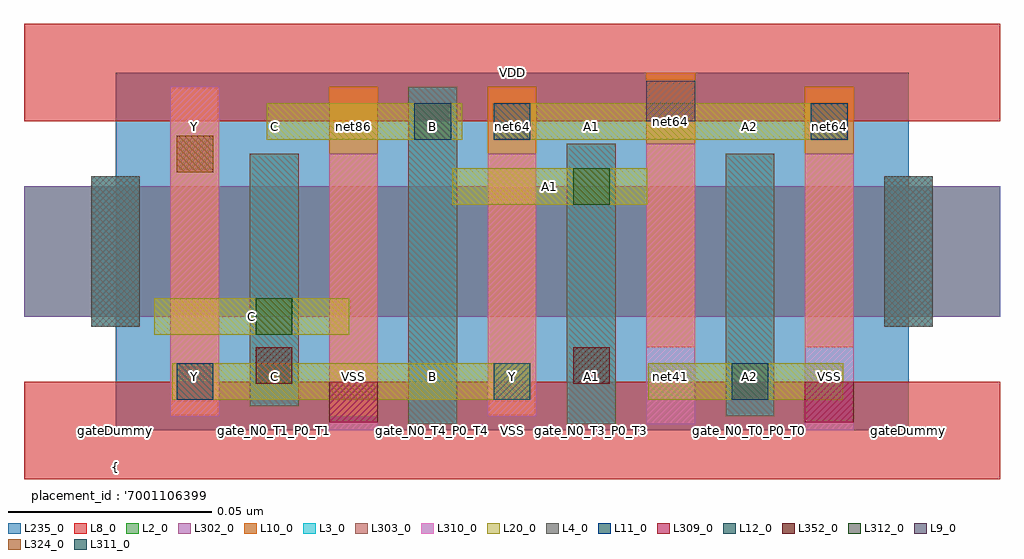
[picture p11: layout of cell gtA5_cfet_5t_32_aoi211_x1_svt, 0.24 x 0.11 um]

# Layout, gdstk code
import gdstk
lib = gdstk.Library(unit=1e-6, precision=2.5e-10)
def R(c, l, rs):  # rectangles x0, y0, x1, y1
    for r in rs: c.add(gdstk.rectangle(r[:2], r[2:], *l))
def A(c, l, x, y, w, h, nx, ny, dx, dy):  # array of equal rectangles
    R(c, l, [(x+i*dx, y+j*dy, x+i*dx+w, y+j*dy+h) for i in range(nx) for j in range(ny)])
L2_0 = (2, 0)
L3_0 = (3, 0)
L4_0 = (4, 0)
L8_0 = (8, 0)
L9_0 = (9, 0)
L10_0 = (10, 0)
L11_0 = (11, 0)
L12_0 = (12, 0)
L20_0 = (20, 0)
L235_0 = (235, 0)
L302_0 = (302, 0)
L303_0 = (303, 0)
L309_0 = (309, 0)
L310_0 = (310, 0)
L311_0 = (311, 0)
L312_0 = (312, 0)
L324_0 = (324, 0)
L352_0 = (352, 0)

gta5_cfet_5t_32_aoi211_x = lib.new_cell('gtA5_cfet_5t_32_aoi211_x1_svt')
R(gta5_cfet_5t_32_aoi211_x, L2_0, [(-0.0225,0.028,0.2175,0.06)])
R(gta5_cfet_5t_32_aoi211_x, L3_0, [(0.072,0.0015,0.084,0.0845), (0.111,0.0015,0.123,0.0705), (0.15,0.0035,0.162,0.068), (0.033,0.006,0.045,0.068), (-0.006,0.0255,0.006,0.0625), (0.189,0.0255,0.201,0.0625)])
R(gta5_cfet_5t_32_aoi211_x, L4_0, [(-0.006,0.0255,0.006,0.0625), (0.189,0.0255,0.201,0.0625)])
R(gta5_cfet_5t_32_aoi211_x, L8_0, [(-0.0225,-0.012,0.2175,0.012), (-0.0225,0.076,0.2175,0.1)])
R(gta5_cfet_5t_32_aoi211_x, L9_0, [(0.1305,0.076,0.1425,0.086)])
A(gta5_cfet_5t_32_aoi211_x, L10_0, 0.0135, 0.0035, 0.012, 0.081, 3, 1, 0.039, 0)
R(gta5_cfet_5t_32_aoi211_x, L10_0, [(0.1305,0.0205,0.1425,0.088), (0.1695,0.0205,0.1815,0.0845)])
R(gta5_cfet_5t_32_aoi211_x, L11_0, [(0.015,0.0075,0.024,0.0165), (0.093,0.0715,0.102,0.0805), (0.171,0.0715,0.18,0.0805)])
R(gta5_cfet_5t_32_aoi211_x, L12_0, [(0.1515,0.0075,0.1605,0.0165), (0.0735,0.0715,0.0825,0.0805)])
R(gta5_cfet_5t_32_aoi211_x, L20_0, [(0.014,0.0075,0.102,0.0165), (0.131,0.0075,0.179,0.0165), (0.0095,0.0235,0.0575,0.0325), (0.0828,0.0555,0.1308,0.0645), (0.0372,0.0715,0.0853,0.0805), (0.093,0.0715,0.18,0.0805)])
R(gta5_cfet_5t_32_aoi211_x, L235_0, [(0,0,0.195,0.088)])
R(gta5_cfet_5t_32_aoi211_x, L302_0, [(-0.0225,0.028,0.2175,0.06)])
R(gta5_cfet_5t_32_aoi211_x, L303_0, [(0.072,0.0015,0.084,0.0845), (0.111,0.0015,0.123,0.0705), (0.15,0.0035,0.162,0.068), (0.033,0.006,0.045,0.068), (-0.006,0.0255,0.006,0.0625), (0.189,0.0255,0.201,0.0625)])
R(gta5_cfet_5t_32_aoi211_x, L309_0, [(0.0525,0.002,0.0645,0.012), (0.1695,0.002,0.1815,0.012)])
R(gta5_cfet_5t_32_aoi211_x, L310_0, [(0.0525,0,0.0645,0.068), (0.1695,0,0.1815,0.068), (0.1305,0.0015,0.1425,0.0705), (0.0135,0.0035,0.0255,0.0845), (0.0915,0.0035,0.1035,0.068)])
R(gta5_cfet_5t_32_aoi211_x, L311_0, [(0.093,0.0075,0.102,0.0165)])
R(gta5_cfet_5t_32_aoi211_x, L312_0, [(0.0345,0.0235,0.0435,0.0325), (0.1125,0.0555,0.1215,0.0645)])
R(gta5_cfet_5t_32_aoi211_x, L324_0, [(0.015,0.0635,0.024,0.0725)])
R(gta5_cfet_5t_32_aoi211_x, L352_0, [(0.0345,0.0115,0.0435,0.0205), (0.1125,0.0115,0.1215,0.0205)])
gta5_cfet_5t_32_aoi211_x.add(gdstk.Label('net64', (0.1365,0.076), layer=100, texttype=100))
gta5_cfet_5t_32_aoi211_x.add(gdstk.Label('gateDummy', (0,0), layer=103, texttype=103))
gta5_cfet_5t_32_aoi211_x.add(gdstk.Label('sd_N0_T0_P0_T0', (0.0195,0), layer=103, texttype=103))
gta5_cfet_5t_32_aoi211_x.add(gdstk.Label('gate_N0_T1_P0_T1', (0.039,0), layer=103, texttype=103))
gta5_cfet_5t_32_aoi211_x.add(gdstk.Label('sd_N0_VSS', (0.0585,0), layer=103, texttype=103))
gta5_cfet_5t_32_aoi211_x.add(gdstk.Label('gate_N0_T4_P0_T4', (0.078,0), layer=103, texttype=103))
gta5_cfet_5t_32_aoi211_x.add(gdstk.Label('sd_N0_T0_P0_T4', (0.0975,0), layer=103, texttype=103))
gta5_cfet_5t_32_aoi211_x.add(gdstk.Label('gate_N0_T3_P0_T3', (0.117,0), layer=103, texttype=103))
gta5_cfet_5t_32_aoi211_x.add(gdstk.Label('sd_P0_VDD', (0.1365,0), layer=103, texttype=103))
gta5_cfet_5t_32_aoi211_x.add(gdstk.Label('gate_N0_T0_P0_T0', (0.156,0), layer=103, texttype=103))
gta5_cfet_5t_32_aoi211_x.add(gdstk.Label('sd_N0_VSS_P0_T4', (0.1755,0), layer=103, texttype=103))
gta5_cfet_5t_32_aoi211_x.add(gdstk.Label('gateDummy', (0.195,0), layer=103, texttype=103))
gta5_cfet_5t_32_aoi211_x.add(gdstk.Label('}', (0,-0.0963), layer=104, texttype=104))
gta5_cfet_5t_32_aoi211_x.add(gdstk.Label('  power : None', (0,-0.0875), layer=104, texttype=104))
gta5_cfet_5t_32_aoi211_x.add(gdstk.Label('  performance : None', (0,-0.0788), layer=104, texttype=104))
gta5_cfet_5t_32_aoi211_x.add(gdstk.Label("  solution_hash : '6150290216967238442'", (0,-0.07), layer=104, texttype=104))
gta5_cfet_5t_32_aoi211_x.add(gdstk.Label('  number_m2 : 0', (0,-0.0612), layer=104, texttype=104))
gta5_cfet_5t_32_aoi211_x.add(gdstk.Label('  number_m1 : 0', (0,-0.0525), layer=104, texttype=104))
gta5_cfet_5t_32_aoi211_x.add(gdstk.Label('  number_m0cuts : 0', (0,-0.0438), layer=104, texttype=104))
gta5_cfet_5t_32_aoi211_x.add(gdstk.Label('  number_m0 : 6', (0,-0.035), layer=104, texttype=104))
gta5_cfet_5t_32_aoi211_x.add(gdstk.Label("  solution_number : '0000'", (0,-0.0262), layer=104, texttype=104))
gta5_cfet_5t_32_aoi211_x.add(gdstk.Label("  placement_id : '7001106399910478332'", (0,-0.0175), layer=104, texttype=104))
gta5_cfet_5t_32_aoi211_x.add(gdstk.Label('{', (0,-0.0088), layer=104, texttype=104))
gta5_cfet_5t_32_aoi211_x.add(gdstk.Label('Y', (0.0195,0.0132), layer=105, texttype=105))
gta5_cfet_5t_32_aoi211_x.add(gdstk.Label('C', (0.039,0.0132), layer=105, texttype=105))
gta5_cfet_5t_32_aoi211_x.add(gdstk.Label('VSS', (0.0585,0.0132), layer=105, texttype=105))
gta5_cfet_5t_32_aoi211_x.add(gdstk.Label('B', (0.078,0.0132), layer=105, texttype=105))
gta5_cfet_5t_32_aoi211_x.add(gdstk.Label('Y', (0.0975,0.0132), layer=105, texttype=105))
gta5_cfet_5t_32_aoi211_x.add(gdstk.Label('A1', (0.117,0.0132), layer=105, texttype=105))
gta5_cfet_5t_32_aoi211_x.add(gdstk.Label('net41', (0.1365,0.0132), layer=105, texttype=105))
gta5_cfet_5t_32_aoi211_x.add(gdstk.Label('A2', (0.156,0.0132), layer=105, texttype=105))
gta5_cfet_5t_32_aoi211_x.add(gdstk.Label('VSS', (0.1755,0.0132), layer=105, texttype=105))
gta5_cfet_5t_32_aoi211_x.add(gdstk.Label('Y', (0.0195,0.0747), layer=105, texttype=105))
gta5_cfet_5t_32_aoi211_x.add(gdstk.Label('C', (0.039,0.0747), layer=105, texttype=105))
gta5_cfet_5t_32_aoi211_x.add(gdstk.Label('net86', (0.0585,0.0747), layer=105, texttype=105))
gta5_cfet_5t_32_aoi211_x.add(gdstk.Label('B', (0.078,0.0747), layer=105, texttype=105))
gta5_cfet_5t_32_aoi211_x.add(gdstk.Label('net64', (0.0975,0.0747), layer=105, texttype=105))
gta5_cfet_5t_32_aoi211_x.add(gdstk.Label('A1', (0.117,0.0747), layer=105, texttype=105))
gta5_cfet_5t_32_aoi211_x.add(gdstk.Label('VDD', (0.1365,0.0747), layer=105, texttype=105))
gta5_cfet_5t_32_aoi211_x.add(gdstk.Label('A2', (0.156,0.0747), layer=105, texttype=105))
gta5_cfet_5t_32_aoi211_x.add(gdstk.Label('net64', (0.1755,0.0747), layer=105, texttype=105))
gta5_cfet_5t_32_aoi211_x.add(gdstk.Label('VSS', (0.0975,0), layer=8, texttype=0))
gta5_cfet_5t_32_aoi211_x.add(gdstk.Label('VDD', (0.0975,0.088), layer=8, texttype=0))
gta5_cfet_5t_32_aoi211_x.add(gdstk.Label('Y', (0.058,0.012), layer=20, texttype=251))
gta5_cfet_5t_32_aoi211_x.add(gdstk.Label('A2', (0.155,0.012), layer=20, texttype=251))
gta5_cfet_5t_32_aoi211_x.add(gdstk.Label('C', (0.0335,0.028), layer=20, texttype=251))
gta5_cfet_5t_32_aoi211_x.add(gdstk.Label('A1', (0.1067,0.06), layer=20, texttype=251))
gta5_cfet_5t_32_aoi211_x.add(gdstk.Label('B', (0.0612,0.076), layer=20, texttype=251))
gta5_cfet_5t_32_aoi211_x.add(gdstk.Label('gtA5_cfet_5t_32_aoi211_x1_rvt_0', (0,0), layer=235, texttype=0))

lib.write_gds('gtA5_cfet_5t_32_aoi211_x1_svt.gds')
